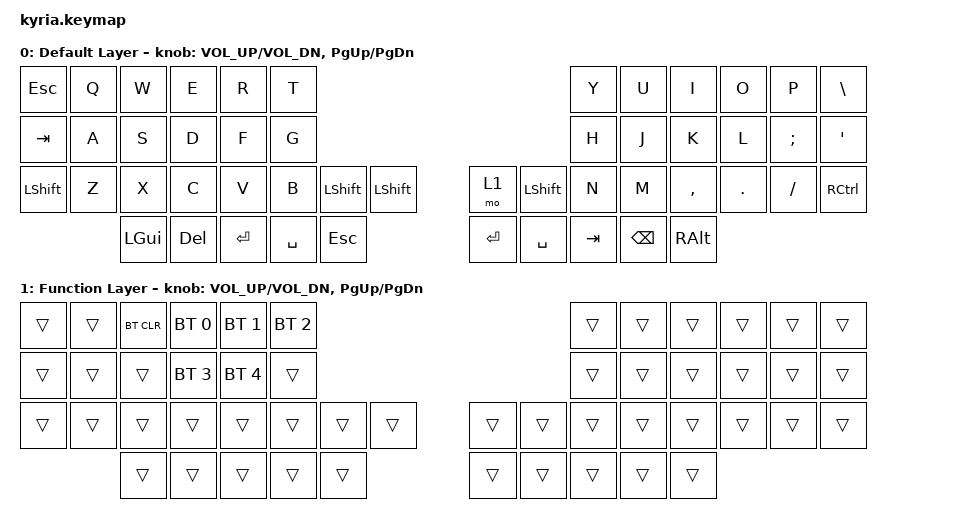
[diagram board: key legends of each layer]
/*
 * Copyright (c) 2020 The ZMK Contributors
 *
 * SPDX-License-Identifier: MIT
 */

#include <behaviors.dtsi>
#include <dt-bindings/zmk/bt.h>
#include <dt-bindings/zmk/keys.h>

/ {
    combos {
        compatible = "zmk,combos";
        // Gap bead: J+K home-row adjacent (all layers).
        combo_esc {
            bindings = <&kp ESC>;
            key-positions = <19 20>;
            timeout-ms = <50>;
        };
        // Gap bead: vertical D+C on layer 1.
        combo_l1_tab {
            bindings = <&kp TAB>;
            key-positions = <15 27>;
            layers = <1>;
            timeout-ms = <50>;
        };
        // Anchor bead: non-adjacent F+H on layer 1.
        combo_l1_caps {
            bindings = <&kp CAPS>;
            key-positions = <16 18>;
            layers = <1>;
            timeout-ms = <50>;
        };
        // Anchor bead: J+K+L triple (all layers).
        combo_jkl {
            bindings = <&kp BSPC>;
            key-positions = <19 20 21>;
            timeout-ms = <50>;
        };
        // Gap bead: U+I on layer 1.
        combo_l1_esc {
            bindings = <&kp ESC>;
            key-positions = <7 8>;
            layers = <1>;
            timeout-ms = <50>;
        };
    };

    keymap {
        compatible = "zmk,keymap";

        default_layer {
            display-name = "Default Layer";
// ---------------------------------------------------------------------------------------------------------------------------------
// |  ESC  |  Q  |  W  |  E   |  R   |  T   |                                          |  Y   |  U    |  I    |  O   |   P   |   \  |
// |  TAB  |  A  |  S  |  D   |  F   |  G   |                                          |  H   |  J    |  K    |  L   |   ;   |   '  |
// | SHIFT |  Z  |  X  |  C   |  V   |  B   | L SHIFT | L SHIFT |  | LAYER 1 | L SHIFT |  N   |  M    |  ,    |  .   |   /   | CTRL |
//                     | GUI  | DEL  | RET  |  SPACE  |   ESC   |  |   RET   |  SPACE  | TAB  | BSPC  | R-ALT |
            bindings = <
    &kp ESC   &kp Q &kp W &kp E &kp R &kp T                                                &kp Y &kp U  &kp I     &kp O   &kp P    &kp BSLH
    &kp TAB   &kp A &kp S &kp D &kp F &kp G                                                &kp H &kp J  &kp K     &kp L   &kp SEMI &kp SQT
    &kp LSHFT &kp Z &kp X &kp C &kp V &kp B &kp LSHFT &kp LSHFT        &mo 1    &kp LSHFT  &kp N &kp M  &kp COMMA &kp DOT &kp FSLH &kp RCTRL
                     &kp LGUI &kp DEL &kp RET &kp SPACE &kp ESC        &kp RET  &kp SPACE  &kp TAB &kp BSPC &kp RALT
            >;

            sensor-bindings = <&inc_dec_kp C_VOL_UP C_VOL_DN &inc_dec_kp PG_UP PG_DN>;
        };
        function_layer {
            display-name = "Function Layer";
// ---------------------------------------------------------------------------------------------------------------------------------
// |       |      |BT_CLR|BTSEL0|BTSEL1|BTSEL2|                                         |      |      |      |      |      |      |
// |       |      |      |BTSEL3|BTSEL4|      |                                         |      |      |      |      |      |      |
// |       |      |      |      |      |      |      |      |      |      |      |      |      |      |      |      |      |      |
//                       |      |      |      |      |      |      |      |      |      |      |      |      |
            bindings = <
    &trans &trans &bt BT_CLR &bt BT_SEL 0 &bt BT_SEL 1 &bt BT_SEL 2              &trans &trans &trans &trans &trans &trans
    &trans &trans &trans     &bt BT_SEL 3 &bt BT_SEL 4 &trans                    &trans &trans &trans &trans &trans &trans
    &trans &trans &trans &trans &trans &trans &trans &trans        &trans &trans &trans &trans &trans &trans &trans &trans
                         &trans &trans &trans &trans &trans        &trans &trans &trans &trans &trans
            >;

            sensor-bindings = <&inc_dec_kp C_VOL_UP C_VOL_DN &inc_dec_kp PG_UP PG_DN>;
        };
    };
};
